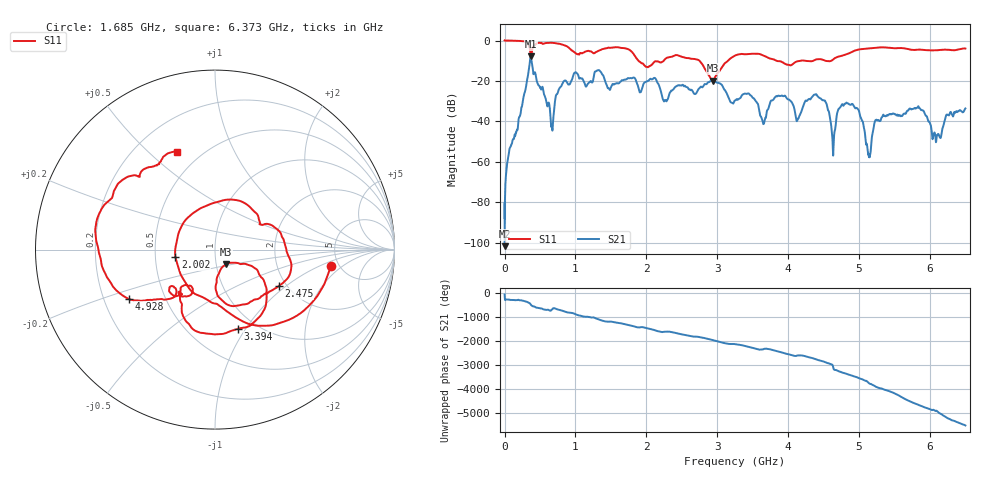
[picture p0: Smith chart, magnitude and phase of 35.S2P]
!Keysight Technologies,E5063A,MY54503115,A.05.08
!Date: Wed Nov 22 14:42:01 2023
!Data & Calibration Information:
!Freq	S11:NONE(--)	S21:NONE(--)	S12:NONE(--)	S22:NONE(--)
# Hz S dB R 50
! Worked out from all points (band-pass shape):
!   10001 points, 100 kHz to 6.5 GHz, reference 50 ohm
!   highest |S21| = -7.84 dB at 366.7 MHz (marker M1); lowest = -101.8 dB at 100 kHz (marker M2)
!   |S21| within 3 dB of the highest: 354.9 MHz to 383 MHz (28.07 MHz wide, 7.61 % of centre)
!   lowest |S11| = -19.8 dB at 2.939 GHz (marker M3), VSWR 1.23, Z = 55.8 - j9.18 ohm
!   |S11| at or under -10 dB: 1.888 GHz to 2.244 GHz (355.9 MHz wide, 17.2 % of centre); 2.749 GHz to 3.148 GHz (399.1 MHz wide, 13.5 % of centre); 3.836 GHz to 4.17 GHz (333.5 MHz wide, 8.33 % of centre) (the widest 3 of 5)
!   S12 and S22 are empty: the file has one direction only
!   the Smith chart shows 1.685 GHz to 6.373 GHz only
!   S11 on the Smith chart (normalised r, x): 1.685 GHz: 4.28, -1.34; 2.002 GHz: 0.64, -0.05; 2.475 GHz: 1.82, -0.89; 3.394 GHz: 0.82, -0.92; 4.928 GHz: 0.31, -0.24; 6.373 GHz: 0.37, +0.62
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100000  0.05 -0.6  -101.79 -68.6  -200.00 0.0  -200.00 0.0
2.301965e8  -0.24 -76.1  -35.17 54.6  -200.00 0.0  -200.00 0.0
3.666944e8  -7.88 -138.1  -7.84 -114.2  -200.00 0.0  -200.00 0.0
6.676397e8  -1.12 131.2  -42.71 21.4  -200.00 0.0  -200.00 0.0
8.645867e8  -2.61 11.1  -19.94 -72.5  -200.00 0.0  -200.00 0.0
1.083633e9  -6.34 -158.9  -18.82 124.1  -200.00 0.0  -200.00 0.0
1.397578e9  -4.08 80.8  -17.79 -91.1  -200.00 0.0  -200.00 0.0
1.684874e9  -3.74 -8.0  -19.38 148.7  -200.00 0.0  -200.00 0.0
2.002069e9  -12.99 -169.5  -20.27 -22.4  -200.00 0.0  -200.00 0.0
2.167167e9  -10.41 36.6  -21.37 -154.1  -200.00 0.0  -200.00 0.0
2.475262e9  -7.77 -29.7  -22.25 94.5  -200.00 0.0  -200.00 0.0
2.939355e9  -19.80 -52.6  -20.07 -160.1  -200.00 0.0  -200.00 0.0
3.25005e9  -7.43 -48.6  -29.64 33.2  -200.00 0.0  -200.00 0.0
3.394348e9  -6.76 -74.0  -26.24 -45.8  -200.00 0.0  -200.00 0.0
3.653044e9  -7.40 -112.8  -41.33 -172.7  -200.00 0.0  -200.00 0.0
4.333583e9  -10.22 -129.6  -28.07 -179.1  -200.00 0.0  -200.00 0.0
4.637129e9  -9.24 -130.6  -55.25 119.7  -200.00 0.0  -200.00 0.0
4.927674e9  -5.15 -150.1  -32.56 137.7  -200.00 0.0  -200.00 0.0
5.138271e9  -3.90 -175.0  -57.18 -140.5  -200.00 0.0  -200.00 0.0
5.417117e9  -3.56 157.7  -36.64 -109.5  -200.00 0.0  -200.00 0.0
6.373252e9  -4.64 111.4  -35.21 47.4  -200.00 0.0  -200.00 0.0
6.5e9  -3.93 105.1  -33.60 -101.1  -200.00 0.0  -200.00 0.0
